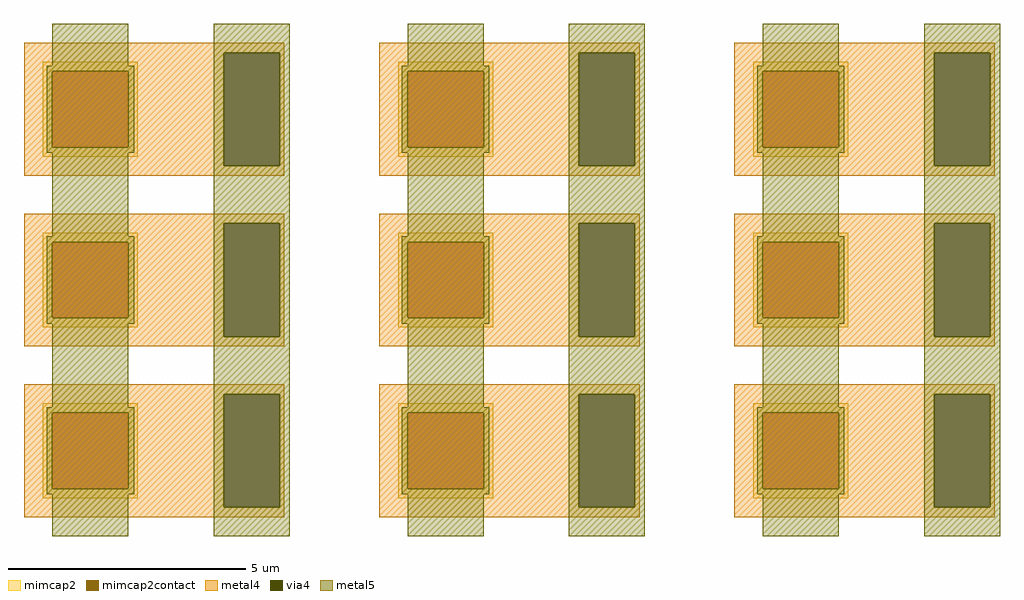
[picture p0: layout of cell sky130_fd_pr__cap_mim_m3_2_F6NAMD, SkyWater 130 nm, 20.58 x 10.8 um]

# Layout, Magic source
magic
tech sky130A
magscale 1 2
<< metal4 >>
rect -2047 959 -949 1000
rect -2047 481 -1205 959
rect -969 481 -949 959
rect -2047 440 -949 481
rect -549 959 549 1000
rect -549 481 293 959
rect 529 481 549 959
rect -549 440 549 481
rect 949 959 2047 1000
rect 949 481 1791 959
rect 2027 481 2047 959
rect 949 440 2047 481
rect -2047 239 -949 280
rect -2047 -239 -1205 239
rect -969 -239 -949 239
rect -2047 -280 -949 -239
rect -549 239 549 280
rect -549 -239 293 239
rect 529 -239 549 239
rect -549 -280 549 -239
rect 949 239 2047 280
rect 949 -239 1791 239
rect 2027 -239 2047 239
rect 949 -280 2047 -239
rect -2047 -481 -949 -440
rect -2047 -959 -1205 -481
rect -969 -959 -949 -481
rect -2047 -1000 -949 -959
rect -549 -481 549 -440
rect -549 -959 293 -481
rect 529 -959 549 -481
rect -549 -1000 549 -959
rect 949 -481 2047 -440
rect 949 -959 1791 -481
rect 2027 -959 2047 -481
rect 949 -1000 2047 -959
<< via4 >>
rect -1205 481 -969 959
rect 293 481 529 959
rect 1791 481 2027 959
rect -1205 -239 -969 239
rect 293 -239 529 239
rect 1791 -239 2027 239
rect -1205 -959 -969 -481
rect 293 -959 529 -481
rect 1791 -959 2027 -481
<< mimcap2 >>
rect -1967 880 -1567 920
rect -1967 560 -1927 880
rect -1607 560 -1567 880
rect -1967 520 -1567 560
rect -469 880 -69 920
rect -469 560 -429 880
rect -109 560 -69 880
rect -469 520 -69 560
rect 1029 880 1429 920
rect 1029 560 1069 880
rect 1389 560 1429 880
rect 1029 520 1429 560
rect -1967 160 -1567 200
rect -1967 -160 -1927 160
rect -1607 -160 -1567 160
rect -1967 -200 -1567 -160
rect -469 160 -69 200
rect -469 -160 -429 160
rect -109 -160 -69 160
rect -469 -200 -69 -160
rect 1029 160 1429 200
rect 1029 -160 1069 160
rect 1389 -160 1429 160
rect 1029 -200 1429 -160
rect -1967 -560 -1567 -520
rect -1967 -880 -1927 -560
rect -1607 -880 -1567 -560
rect -1967 -920 -1567 -880
rect -469 -560 -69 -520
rect -469 -880 -429 -560
rect -109 -880 -69 -560
rect -469 -920 -69 -880
rect 1029 -560 1429 -520
rect 1029 -880 1069 -560
rect 1389 -880 1429 -560
rect 1029 -920 1429 -880
<< mimcap2contact >>
rect -1927 560 -1607 880
rect -429 560 -109 880
rect 1069 560 1389 880
rect -1927 -160 -1607 160
rect -429 -160 -109 160
rect 1069 -160 1389 160
rect -1927 -880 -1607 -560
rect -429 -880 -109 -560
rect 1069 -880 1389 -560
<< metal5 >>
rect -1927 904 -1607 1080
rect -1247 959 -927 1080
rect -1951 880 -1583 904
rect -1951 560 -1927 880
rect -1607 560 -1583 880
rect -1951 536 -1583 560
rect -1927 184 -1607 536
rect -1247 481 -1205 959
rect -969 481 -927 959
rect -429 904 -109 1080
rect 251 959 571 1080
rect -453 880 -85 904
rect -453 560 -429 880
rect -109 560 -85 880
rect -453 536 -85 560
rect -1247 239 -927 481
rect -1951 160 -1583 184
rect -1951 -160 -1927 160
rect -1607 -160 -1583 160
rect -1951 -184 -1583 -160
rect -1927 -536 -1607 -184
rect -1247 -239 -1205 239
rect -969 -239 -927 239
rect -429 184 -109 536
rect 251 481 293 959
rect 529 481 571 959
rect 1069 904 1389 1080
rect 1749 959 2069 1080
rect 1045 880 1413 904
rect 1045 560 1069 880
rect 1389 560 1413 880
rect 1045 536 1413 560
rect 251 239 571 481
rect -453 160 -85 184
rect -453 -160 -429 160
rect -109 -160 -85 160
rect -453 -184 -85 -160
rect -1247 -481 -927 -239
rect -1951 -560 -1583 -536
rect -1951 -880 -1927 -560
rect -1607 -880 -1583 -560
rect -1951 -904 -1583 -880
rect -1927 -1080 -1607 -904
rect -1247 -959 -1205 -481
rect -969 -959 -927 -481
rect -429 -536 -109 -184
rect 251 -239 293 239
rect 529 -239 571 239
rect 1069 184 1389 536
rect 1749 481 1791 959
rect 2027 481 2069 959
rect 1749 239 2069 481
rect 1045 160 1413 184
rect 1045 -160 1069 160
rect 1389 -160 1413 160
rect 1045 -184 1413 -160
rect 251 -481 571 -239
rect -453 -560 -85 -536
rect -453 -880 -429 -560
rect -109 -880 -85 -560
rect -453 -904 -85 -880
rect -1247 -1080 -927 -959
rect -429 -1080 -109 -904
rect 251 -959 293 -481
rect 529 -959 571 -481
rect 1069 -536 1389 -184
rect 1749 -239 1791 239
rect 2027 -239 2069 239
rect 1749 -481 2069 -239
rect 1045 -560 1413 -536
rect 1045 -880 1069 -560
rect 1389 -880 1413 -560
rect 1045 -904 1413 -880
rect 251 -1080 571 -959
rect 1069 -1080 1389 -904
rect 1749 -959 1791 -481
rect 2027 -959 2069 -481
rect 1749 -1080 2069 -959
<< properties >>
string FIXED_BBOX 949 440 1509 1000
string gencell sky130_fd_pr__cap_mim_m3_2
string library sky130
string parameters w 2.00 l 2.00 val 9.52 carea 2.00 cperi 0.19 nx 3 ny 3 dummy 0 square 0 lmin 2.00 wmin 2.00 lmax 30.0 wmax 30.0 dc 0 bconnect 1 tconnect 1 ccov 100
<< end >>
